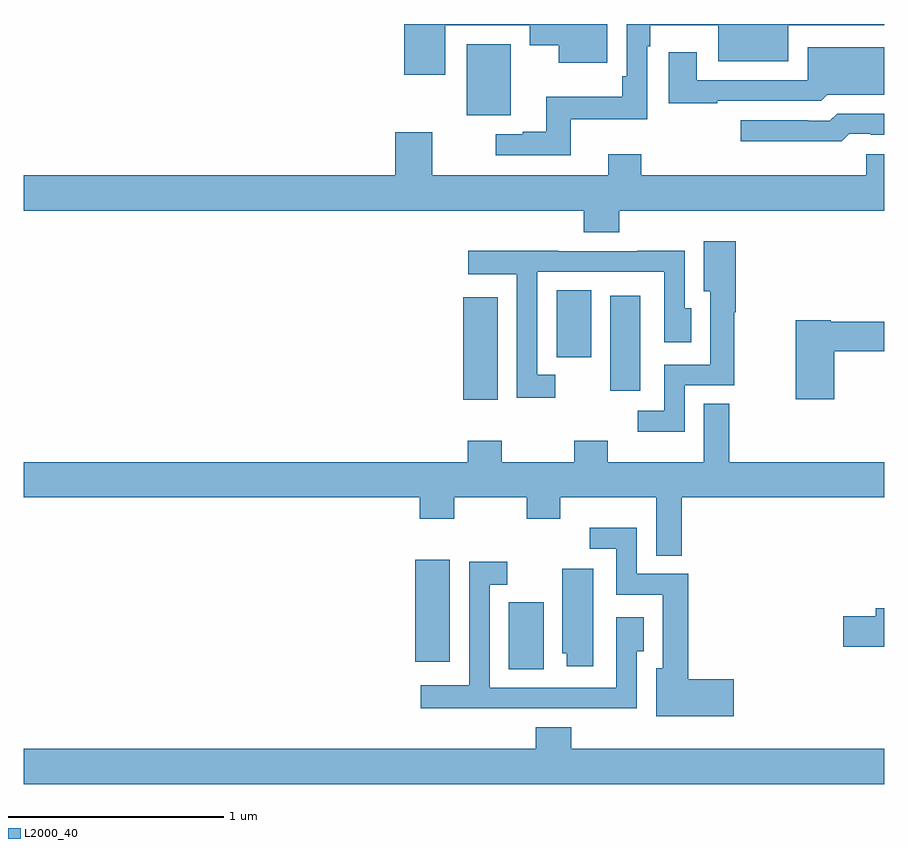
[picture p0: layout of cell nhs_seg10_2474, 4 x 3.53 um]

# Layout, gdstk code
import gdstk
lib = gdstk.Library(unit=1e-6, precision=1e-09)
def R(c, l, rs):  # rectangles x0, y0, x1, y1
    for r in rs: c.add(gdstk.rectangle(r[:2], r[2:], *l))
def P(c, l, *ps):  # polygons
    for p in ps: c.add(gdstk.Polygon(p, *l))
L2000_40 = (2000, 40)

nhs_seg10_2474 = lib.new_cell('nhs_seg10_2474')
R(nhs_seg10_2474, L2000_40, [(245.255,1315.501,245.416,1315.812), (244.82,1315.536,244.981,1316.011), (245.042,1316.754,245.203,1317.229), (245.726,1316.796,245.866,1317.238), (245.477,1316.952,245.638,1317.263), (245.06,1318.076,245.263,1318.405)])
P(nhs_seg10_2474, L2000_40, [(245.542,1318.058),(245.898,1318.058),(245.898,1318.397),(245.911,1318.397),(245.911,1318.494),(246.227,1318.494),(246.227,1318.328),(246.553,1318.328),(246.553,1318.494),(247,1318.494),(247,1318.5),(245.802,1318.5),(245.802,1318.258),(245.782,1318.258),(245.782,1318.162),(245.429,1318.162),(245.429,1318),(245.319,1318),(245.319,1317.987),(245.193,1317.987),(245.193,1317.891),(245.542,1317.891)],
  [(244.96,1318.494),(245.352,1318.494),(245.352,1318.402),(245.486,1318.402),(245.486,1318.319),(245.713,1318.319),(245.713,1318.5),(244.769,1318.5),(244.769,1318.265),(244.96,1318.265)],
  [(246.223,1318.143),(246.706,1318.143),(246.735,1318.172),(247,1318.172),(247,1318.393),(246.645,1318.393),(246.645,1318.239),(246.127,1318.239),(246.127,1318.369),(245.999,1318.369),(245.999,1318.131),(246.223,1318.131)],
  [(246.837,1317.99),(246.937,1317.99),(246.937,1317.986),(247,1317.986),(247,1318.083),(246.78,1318.083),(246.747,1318.05),(246.647,1318.05),(246.647,1318.053),(246.333,1318.053),(246.333,1317.956),(246.576,1317.956),(246.576,1317.954),(246.801,1317.954)],
  [(245.768,1317.632),(247,1317.632),(247,1317.895),(246.917,1317.895),(246.917,1317.796),(245.87,1317.796),(245.87,1317.895),(245.717,1317.895),(245.717,1317.796),(244.899,1317.796),(244.899,1317.997),(244.727,1317.997),(244.727,1317.796),(243,1317.796),(243,1317.632),(245.603,1317.632),(245.603,1317.533),(245.768,1317.533)],
  [(246.072,1316.82),(246.302,1316.82),(246.302,1317.161),(246.31,1317.161),(246.31,1317.49),(246.161,1317.49),(246.161,1317.257),(246.191,1317.257),(246.191,1316.916),(245.976,1316.916),(245.976,1316.703),(245.853,1316.703),(245.853,1316.606),(246.072,1316.606)],
  [(245.47,1316.871),(245.388,1316.871),(245.388,1317.348),(245.976,1317.348),(245.976,1317.021),(246.103,1317.021),(246.103,1317.18),(246.072,1317.18),(246.072,1317.446),(245.851,1317.446),(245.851,1317.444),(245.485,1317.444),(245.485,1317.446),(245.067,1317.446),(245.067,1317.338),(245.292,1317.338),(245.292,1316.763),(245.47,1316.763)],
  [(246.767,1316.98),(247,1316.98),(247,1317.116),(246.75,1317.116),(246.75,1317.124),(246.589,1317.124),(246.589,1316.757),(246.767,1316.757)],
  [(246.058,1316.3),(247,1316.3),(247,1316.464),(246.28,1316.464),(246.28,1316.735),(246.161,1316.735),(246.161,1316.464),(245.715,1316.464),(245.715,1316.563),(245.56,1316.563),(245.56,1316.464),(245.223,1316.464),(245.223,1316.563),(245.063,1316.563),(245.063,1316.464),(243,1316.464),(243,1316.3),(244.841,1316.3),(244.841,1316.201),(245.001,1316.201),(245.001,1316.3),(245.338,1316.3),(245.338,1316.201),(245.493,1316.201),(245.493,1316.3),(245.939,1316.3),(245.939,1316.029),(246.058,1316.029)],
  [(246.301,1315.454),(246.088,1315.454),(246.088,1315.944),(245.85,1315.944),(245.85,1316.158),(245.631,1316.158),(245.631,1316.061),(245.754,1316.061),(245.754,1315.848),(245.969,1315.848),(245.969,1315.507),(245.939,1315.507),(245.939,1315.283),(246.301,1315.283)],
  [(245.263,1315.32),(245.629,1315.32),(245.629,1315.319),(245.85,1315.319),(245.85,1315.585),(245.881,1315.585),(245.881,1315.744),(245.754,1315.744),(245.754,1315.416),(245.166,1315.416),(245.166,1315.893),(245.248,1315.893),(245.248,1316.002),(245.07,1316.002),(245.07,1315.426),(244.845,1315.426),(244.845,1315.319),(245.263,1315.319)],
  [(245.647,1315.969),(245.504,1315.969),(245.504,1315.575),(245.525,1315.575),(245.525,1315.515),(245.647,1315.515)],
  [(247,1315.784),(246.959,1315.784),(246.959,1315.748),(246.81,1315.748),(246.81,1315.606),(247,1315.606)],
  [(247,1315.132),(245.546,1315.132),(245.546,1315.231),(245.381,1315.231),(245.381,1315.132),(243,1315.132),(243,1314.968),(247,1314.968)])

lib.write_gds('nhs_seg10_2474.gds')
